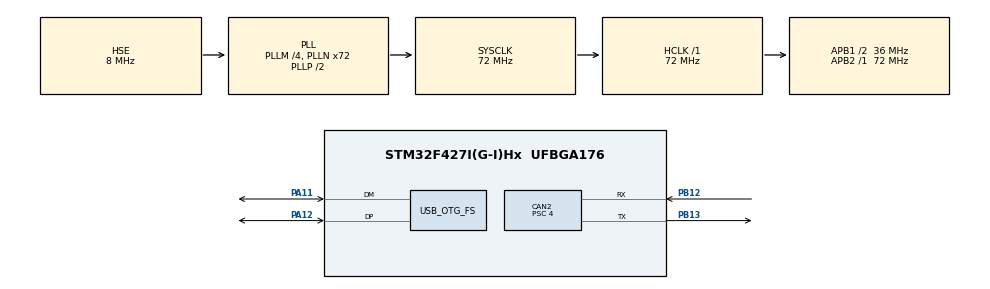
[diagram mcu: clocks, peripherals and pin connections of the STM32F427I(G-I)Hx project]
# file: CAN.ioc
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CAN2.ABOM=ENABLE
CAN2.BS1=CAN_BS1_5TQ
CAN2.BS2=CAN_BS2_3TQ
CAN2.CalculateBaudRate=1000000
CAN2.CalculateTimeBit=1000
CAN2.CalculateTimeQuantum=111.11111111111111
CAN2.Prescaler=4
IWDG.Prescaler=IWDG_PRESCALER_32
IWDG.Reload=1000
Mcu.Family=STM32F4
Mcu.Name=STM32F427I(G-I)Hx
Mcu.Package=UFBGA176
NVIC.CAN2_RX1_IRQn=true\:2\:0\:true\:false\:true\:true\:true\:true
NVIC.CAN2_SCE_IRQn=true\:2\:0\:true\:false\:true\:true\:true\:true
NVIC.OTG_FS_IRQn=true\:3\:0\:true\:false\:true\:false\:true\:true
NVIC.PriorityGroup=NVIC_PRIORITYGROUP_4
NVIC.TIM3_IRQn=true\:0\:0\:false\:false\:true\:true\:true\:true
PA11.Mode=Device_Only
PA11.Signal=USB_OTG_FS_DM
PA12.Mode=Device_Only
PA12.Signal=USB_OTG_FS_DP
PA13.Mode=Serial_Wire
PA13.Signal=SYS_JTMS-SWDIO
PA14.Mode=Serial_Wire
PA14.Signal=SYS_JTCK-SWCLK
PB12.Mode=CAN_Activate
PB12.Signal=CAN2_RX
PB13.Mode=CAN_Activate
PB13.Signal=CAN2_TX
PC14/OSC32_IN.Mode=LSE-External-Oscillator
PC14/OSC32_IN.Signal=RCC_OSC32_IN
PC15/OSC32_OUT.Mode=LSE-External-Oscillator
PC15/OSC32_OUT.Signal=RCC_OSC32_OUT
PH0/OSC_IN.Mode=HSE-External-Oscillator
PH0/OSC_IN.Signal=RCC_OSC_IN
PH1/OSC_OUT.Mode=HSE-External-Oscillator
PH1/OSC_OUT.Signal=RCC_OSC_OUT
ProjectManager.HeapSize=0x200
ProjectManager.StackSize=0x400
ProjectManager.TargetToolchain=MDK-ARM V5.32
RCC.48MHZClocksFreq_Value=48000000
RCC.AHBFreq_Value=72000000
RCC.APB1CLKDivider=RCC_HCLK_DIV2
RCC.APB1Freq_Value=36000000
RCC.APB1TimFreq_Value=72000000
RCC.APB2Freq_Value=72000000
RCC.APB2TimFreq_Value=72000000
RCC.CortexFreq_Value=72000000
RCC.HCLKFreq_Value=72000000
RCC.HSE_VALUE=8000000
RCC.HSI_VALUE=16000000
RCC.PLLM=4
RCC.PLLN=72
RCC.PLLQ=3
RCC.SYSCLKFreq_VALUE=72000000
RCC.SYSCLKSource=RCC_SYSCLKSOURCE_PLLCLK
RCC.VCOOutputFreq_Value=144000000
TIM3.Period=100-1
TIM3.Prescaler=7200-1
USB_DEVICE.CLASS_NAME_FS=CDC
USB_DEVICE.VirtualMode-CDC_FS=Cdc
USB_DEVICE.VirtualModeFS=Cdc_FS
USB_OTG_FS.VirtualMode=Device_Only
VP_IWDG_VS_IWDG.Mode=IWDG_Activate
VP_TIM3_VS_ClockSourceINT.Mode=Internal
VP_USB_DEVICE_VS_USB_DEVICE_CDC_FS.Mode=CDC_FS
board=custom

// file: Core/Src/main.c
/* USER CODE BEGIN Header */
/**
  ******************************************************************************
  * @file           : main.c
  * @brief          : Main program body
  ******************************************************************************
  * @attention
  *
  * Copyright (c) 2026 STMicroelectronics.
  * All rights reserved.
  *
  * This software is licensed under terms that can be found in the LICENSE file
  * in the root directory of this software component.
  * If no LICENSE file comes with this software, it is provided AS-IS.
  *
  ******************************************************************************
  */
/* USER CODE END Header */
#include "main.h"
#include "usb_device.h"

/* USER CODE BEGIN Includes */
#include "CAN_protocol.h"
#include "CAN_motor.h"
#include "kinematics.h"
#include "pid.h"
#include "usbd_cdc_if.h"
/* USER CODE END Includes */

CAN_HandleTypeDef hcan2;

IWDG_HandleTypeDef hiwdg;

TIM_HandleTypeDef htim3;

/* USER CODE BEGIN PV */

static ChassisCmd_t target_cmd = {0};
static uint32_t last_cmd_time = 0;

static PID_t speed_pid[MOTOR_NUM];
static ChassisFeedback_t chassis_fb = {0};

// CAN错误状态
volatile uint8_t can2_error_status = 0;

/* USER CODE END PV */

void SystemClock_Config(void);
static void MX_GPIO_Init(void);
static void MX_CAN2_Init(void);
static void MX_TIM3_Init(void);
static void MX_IWDG_Init(void);

/* USER CODE BEGIN 0 */
void CAN_Filter_Config(){
	CAN_FilterTypeDef sFilterConfig;

	// ========== CAN2过滤器：只收电机反馈 ID=0x201~0x204 ==========

        sFilterConfig.FilterBank = 14 ;//用第十四个过滤器
        sFilterConfig.FilterMode = CAN_FILTERMODE_IDMASK;
        sFilterConfig.FilterScale = CAN_FILTERSCALE_32BIT;
        sFilterConfig.FilterIdHigh = (CAN2_M3508_CMD_BASE<< 5);
        sFilterConfig.FilterIdLow = 0x0000;
			sFilterConfig.FilterMaskIdHigh = 0x7F0<<5|0x3;//IDE和RTR匹配
        sFilterConfig.FilterMaskIdLow = 0;
        sFilterConfig.FilterFIFOAssignment = CAN_FILTER_FIFO1;
        sFilterConfig.FilterActivation = ENABLE;
        HAL_CAN_ConfigFilter(&hcan2, &sFilterConfig);

}

//USB CDC接收回调（工控机发给stm速度和角度信息)
/*  USB为什么和 UART 不一样
UART 的接收回调 HAL_UART_RxCpltCallback() 是个 weak 函数（弱定义），
HAL 库里已经给你写好了默认实现（空的），
你在 main.c 里重新定义一个同名的，编译器就会用你的版本代替默认的——这叫弱符号覆盖。
USB CDC 不一样。它的接收回调 CDC_Receive_FS() 是通过函数指针注册到
这个结构体被 USB 协议栈在初始化时读进去，后续有数据过来时就通过这个指针去调用 CDC_Receive_FS()。
它不是 weak 函数，不能靠同名覆盖，你必须直接在 usbd_cdc_if.c 里改 CDC_Receive_FS() 的函数体。
*/

void USB_CMD_Process(uint8_t *buf, uint32_t len)
{
  if(len < sizeof(ChassisCmd_t)) return;
	ChassisCmd_t *cmd = (ChassisCmd_t*)buf;
  if (cmd->reserved!= CMD_MAGIC) return;
        target_cmd.vx = cmd->vx;
        target_cmd.vy = cmd->vy;
        target_cmd.wz = cmd->wz;
        target_cmd.enable = cmd->enable;
        last_cmd_time = HAL_GetTick();
}

// CAN2接收回调（电机反馈），反馈电流，转速，角度，温度
void CAN2_RxCallback(uint32_t rx_id, uint8_t *data, uint8_t dlc)
{
    if(rx_id >= 0x201 && rx_id <= 0x204) {
        MotorCAN2_ProcessRx(rx_id, data);
    }
}

//当错误数累积到255后你将会得到

// ============ CAN2 SCE中断回调（错误处理）============
void CAN2_SCE_Callback(void)
{
    uint32_t esr = hcan2.Instance->ESR;

    if(esr & CAN_ESR_BOFF) {
        can2_error_status = 3;
        // CAN2 BusOff，尝试恢复电机通信
        MotorCAN2_ResetBus();
    } else if(esr & CAN_ESR_EPVF) {
        can2_error_status = 2;
    } else if(esr & CAN_ESR_EWGF) {
        can2_error_status = 1;
    }

    __HAL_CAN_CLEAR_FLAG(&hcan2, CAN_FLAG_BOF);
    __HAL_CAN_CLEAR_FLAG(&hcan2, CAN_FLAG_EPV);
    __HAL_CAN_CLEAR_FLAG(&hcan2, CAN_FLAG_EWG);
}

/*CAN收发数据的时候都要做一个  r/tx_header和对应的data数组存储数据*/

// ============ HAL库CAN中断回调（CubeMX自动调用这些函数）============

// CAN2接收中断
void HAL_CAN_RxFifo1MsgPendingCallback(CAN_HandleTypeDef *hcan)
{
    if(hcan->Instance == CAN2) {
        CAN_RxHeaderTypeDef rx_header;
        uint8_t rx_data[8];
        if(HAL_CAN_GetRxMessage(hcan, CAN_RX_FIFO1, &rx_header, rx_data) == HAL_OK) {
            CAN2_RxCallback(rx_header.StdId, rx_data, rx_header.DLC);
        }
    }
}

//CAN错误中断
void HAL_CAN_ErrorCallback(CAN_HandleTypeDef *hcan)
{

   if(hcan->Instance == CAN2) {
        CAN2_SCE_Callback();
    }
}

//CAN初始化函数
void CAN_Start(){
	  //配置过滤器
	  CAN_Filter_Config();
	  HAL_Delay(10);

	// 3. 启用 FIFO0 消息挂起中断（有数据来时触发）

	  //启动CAN2
    if (HAL_CAN_Start(&hcan2) != HAL_OK)
    {
        Error_Handler();
    }
    // 启用 FIFO1 消息挂起中断（有数据到达时触发）
    if (HAL_CAN_ActivateNotification(&hcan2, CAN_IT_RX_FIFO1_MSG_PENDING) != HAL_OK)
    {
        Error_Handler();
    }

    // 启用错误中断（用于监控总线错误）
    if (HAL_CAN_ActivateNotification(&hcan2, CAN_IT_ERROR) != HAL_OK)
    {
        Error_Handler();
    }
}

// ============ 更新里程计 ============
void UpdateOdometry(void)
{
    static uint32_t last_time = 0;
    uint32_t now = HAL_GetTick();
    float dt = (now - last_time) / 1000.0f;
    if(dt > 0.1f) dt = 0.01f;

    // 用电机实际 RPM 算底盘实际速度
    int16_t wheel_rpm[MOTOR_NUM];
    ChassisSpeed_t actual_speed;
    for(int i = 0; i < MOTOR_NUM; i++) {
        wheel_rpm[i] = motor_fb[i].speed_rpm;
    }
    Kinematics_Forward(wheel_rpm, &actual_speed);
// 速度反馈
    chassis_fb.vx_actual = actual_speed.vx;
    chassis_fb.vy_actual = actual_speed.vy;

    chassis_fb.timestamp_ms = now;

    last_time = now;
}

// ============ 发送底盘状态到工控机（USB）============
void SendChassisFeedback(void)
{
	 chassis_fb.header = FRAME_HEADER;
   chassis_fb.error_code = can2_error_status;  // 只有CAN2的状态了
   chassis_fb.can2_status = can2_error_status;

    // 通过USB CDC虚拟串口发送
    CDC_Transmit_FS((uint8_t*)&chassis_fb, sizeof(ChassisFeedback_t));
}

// ============ 定时器中断（控制周期10ms）============
void HAL_TIM_PeriodElapsedCallback(TIM_HandleTypeDef *htim){
	if(htim->Instance==TIM3){
		  HAL_IWDG_Refresh(&hiwdg);   // 每10ms喂一次狗
		 static int16_t target_rpm[MOTOR_NUM];
     static float current_cmd[MOTOR_NUM];

        Motor_CheckOnline();  // ← 新增：更新丢帧计数

		 // 超时或急停检查
        if((HAL_GetTick() - last_cmd_time > CMD_TIMEOUT_MS) || (target_cmd.enable == 0)) {                MotorCAN2_SendCurrent(0,0,0, 0);
            return;
        }
		  // 运动学逆解（线速度到转速）
        Kinematics_Calculate(*(ChassisSpeed_t*)&target_cmd, target_rpm);

			 // PID控制
        for(int i = 0; i < MOTOR_NUM; i++)
        {
            if(Motor_IsOnline(i + 1))                     // ← 在线才跑 PID
            {
                current_cmd[i] = (int16_t)PID_Calculate(
                    &speed_pid[i],
                    (float)target_rpm[i],
                    (float)motor_fb[i].speed_rpm);
            }
            else
            {
                current_cmd[i] = 0;                       // ← 离线电机输出 0
                PID_Reset(&speed_pid[i]);                 // ← 清空积分，防止恢复时猛冲
            }
        }

        MotorCAN2_SendCurrent(current_cmd[0], current_cmd[1],
                              current_cmd[2], current_cmd[3]);

        UpdateOdometry();

				// 每100ms发送一次状态反馈
        static uint8_t fb_counter = 0;
        if(++fb_counter >= 10) {
            SendChassisFeedback();
            fb_counter = 0;
        }
	}

}

/* USER CODE END 0 */

int main(void)
{

  /* MCU Configuration--------------------------------------------------------*/

  /* Reset of all peripherals, Initializes the Flash interface and the Systick. */
  HAL_Init();

  /* Configure the system clock */
  SystemClock_Config();

  /* Initialize all configured peripherals */
  MX_GPIO_Init();
  MX_CAN2_Init();
  MX_TIM3_Init();
  MX_USB_DEVICE_Init();
  MX_IWDG_Init();
  /* USER CODE BEGIN 2 */
	CAN_Start();
  for(int i = 0; i < MOTOR_NUM; i++) {
        PID_Init(&speed_pid[i], PID_KP, PID_KI, PID_KD, PID_OUT_MAX, PID_INT_LIMIT,PID_INTEGRAL_SEPARATE_THR);
    }

	// 启动定时器
    HAL_TIM_Base_Start_IT(&htim3);

  /* USER CODE END 2 */

  /* Infinite loop */
  while (1)
  {

  }
}

void SystemClock_Config(void)
{
  RCC_OscInitTypeDef RCC_OscInitStruct = {0};
  RCC_ClkInitTypeDef RCC_ClkInitStruct = {0};

  /** Configure the main internal regulator output voltage
  */
  __HAL_RCC_PWR_CLK_ENABLE();
  __HAL_PWR_VOLTAGESCALING_CONFIG(PWR_REGULATOR_VOLTAGE_SCALE3);

  /** Initializes the RCC Oscillators according to the specified parameters
  * in the RCC_OscInitTypeDef structure.
  */
  RCC_OscInitStruct.OscillatorType = RCC_OSCILLATORTYPE_LSI|RCC_OSCILLATORTYPE_HSE;
  RCC_OscInitStruct.HSEState = RCC_HSE_ON;
  RCC_OscInitStruct.LSIState = RCC_LSI_ON;
  RCC_OscInitStruct.PLL.PLLState = RCC_PLL_ON;
  RCC_OscInitStruct.PLL.PLLSource = RCC_PLLSOURCE_HSE;
  RCC_OscInitStruct.PLL.PLLM = 4;
  RCC_OscInitStruct.PLL.PLLN = 72;
  RCC_OscInitStruct.PLL.PLLP = RCC_PLLP_DIV2;
  RCC_OscInitStruct.PLL.PLLQ = 3;
  if (HAL_RCC_OscConfig(&RCC_OscInitStruct) != HAL_OK)
  {
    Error_Handler();
  }

  /** Initializes the CPU, AHB and APB buses clocks
  */
  RCC_ClkInitStruct.ClockType = RCC_CLOCKTYPE_HCLK|RCC_CLOCKTYPE_SYSCLK
                              |RCC_CLOCKTYPE_PCLK1|RCC_CLOCKTYPE_PCLK2;
  RCC_ClkInitStruct.SYSCLKSource = RCC_SYSCLKSOURCE_PLLCLK;
  RCC_ClkInitStruct.AHBCLKDivider = RCC_SYSCLK_DIV1;
  RCC_ClkInitStruct.APB1CLKDivider = RCC_HCLK_DIV2;
  RCC_ClkInitStruct.APB2CLKDivider = RCC_HCLK_DIV1;

  if (HAL_RCC_ClockConfig(&RCC_ClkInitStruct, FLASH_LATENCY_2) != HAL_OK)
  {
    Error_Handler();
  }
}

static void MX_CAN2_Init(void)
{

  hcan2.Instance = CAN2;
  hcan2.Init.Prescaler = 4;
  hcan2.Init.Mode = CAN_MODE_NORMAL;
  hcan2.Init.SyncJumpWidth = CAN_SJW_1TQ;
  hcan2.Init.TimeSeg1 = CAN_BS1_5TQ;
  hcan2.Init.TimeSeg2 = CAN_BS2_3TQ;
  hcan2.Init.TimeTriggeredMode = DISABLE;
  hcan2.Init.AutoBusOff = ENABLE;
  hcan2.Init.AutoWakeUp = DISABLE;
  hcan2.Init.AutoRetransmission = DISABLE;
  hcan2.Init.ReceiveFifoLocked = DISABLE;
  hcan2.Init.TransmitFifoPriority = DISABLE;
  if (HAL_CAN_Init(&hcan2) != HAL_OK)
  {
    Error_Handler();
  }

}

static void MX_IWDG_Init(void)
{

  hiwdg.Instance = IWDG;
  hiwdg.Init.Prescaler = IWDG_PRESCALER_32;
  hiwdg.Init.Reload = 1000;
  if (HAL_IWDG_Init(&hiwdg) != HAL_OK)
  {
    Error_Handler();
  }

}

static void MX_TIM3_Init(void)
{

  TIM_ClockConfigTypeDef sClockSourceConfig = {0};
  TIM_MasterConfigTypeDef sMasterConfig = {0};

  htim3.Instance = TIM3;
  htim3.Init.Prescaler = 7200-1;
  htim3.Init.CounterMode = TIM_COUNTERMODE_UP;
  htim3.Init.Period = 100-1;
  htim3.Init.ClockDivision = TIM_CLOCKDIVISION_DIV1;
  htim3.Init.AutoReloadPreload = TIM_AUTORELOAD_PRELOAD_DISABLE;
  if (HAL_TIM_Base_Init(&htim3) != HAL_OK)
  {
    Error_Handler();
  }
  sClockSourceConfig.ClockSource = TIM_CLOCKSOURCE_INTERNAL;
  if (HAL_TIM_ConfigClockSource(&htim3, &sClockSourceConfig) != HAL_OK)
  {
    Error_Handler();
  }
  sMasterConfig.MasterOutputTrigger = TIM_TRGO_RESET;
  sMasterConfig.MasterSlaveMode = TIM_MASTERSLAVEMODE_DISABLE;
  if (HAL_TIMEx_MasterConfigSynchronization(&htim3, &sMasterConfig) != HAL_OK)
  {
    Error_Handler();
  }

}

static void MX_GPIO_Init(void)
{

  /* GPIO Ports Clock Enable */
  __HAL_RCC_GPIOA_CLK_ENABLE();
  __HAL_RCC_GPIOC_CLK_ENABLE();
  __HAL_RCC_GPIOH_CLK_ENABLE();
  __HAL_RCC_GPIOB_CLK_ENABLE();

}

void Error_Handler(void)
{
  __disable_irq();
  while (1)
  {
  }
}
